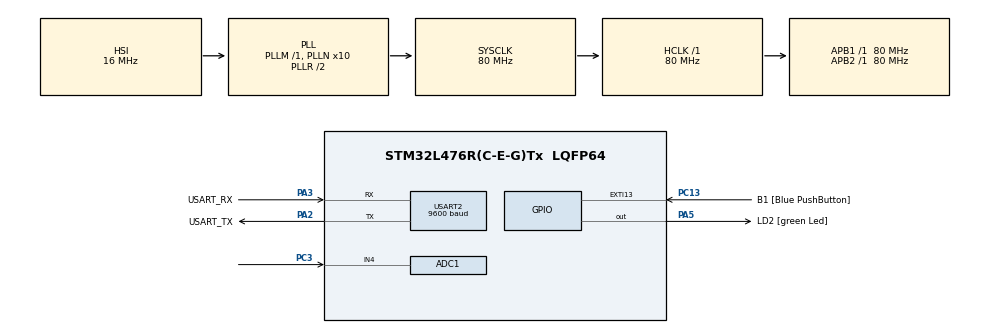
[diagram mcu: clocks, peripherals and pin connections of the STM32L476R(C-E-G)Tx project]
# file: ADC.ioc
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ADC1.Channel-2\#ChannelRegularConversion=ADC_CHANNEL_4
ADC1.ContinuousConvMode=ENABLE
ADC1.DMAContinuousRequests=ENABLE
ADC1.NbrOfConversionFlag=1
ADC1.OffsetNumber-2\#ChannelRegularConversion=ADC_OFFSET_NONE
ADC1.Rank-2\#ChannelRegularConversion=1
ADC1.Resolution=ADC_RESOLUTION_12B
ADC1.SamplingTime-2\#ChannelRegularConversion=ADC_SAMPLETIME_2CYCLES_5
ADC1.master=1
Dma.ADC1.0.Direction=DMA_PERIPH_TO_MEMORY
Dma.ADC1.0.Instance=DMA1_Channel1
Dma.ADC1.0.MemDataAlignment=DMA_MDATAALIGN_HALFWORD
Dma.ADC1.0.MemInc=DMA_MINC_ENABLE
Dma.ADC1.0.Mode=DMA_CIRCULAR
Dma.ADC1.0.PeriphDataAlignment=DMA_PDATAALIGN_HALFWORD
Dma.ADC1.0.PeriphInc=DMA_PINC_DISABLE
Dma.ADC1.0.Priority=DMA_PRIORITY_LOW
Dma.Request0=ADC1
Mcu.Family=STM32L4
Mcu.Name=STM32L476R(C-E-G)Tx
Mcu.Package=LQFP64
NVIC.DMA1_Channel1_IRQn=true\:0\:0\:false\:false\:true\:false\:true\:true
NVIC.PriorityGroup=NVIC_PRIORITYGROUP_4
PA13\ (JTMS-SWDIO).GPIO_Label=TMS
PA13\ (JTMS-SWDIO).Mode=Serial_Wire
PA13\ (JTMS-SWDIO).Signal=SYS_JTMS-SWDIO
PA14\ (JTCK-SWCLK).GPIO_Label=TCK
PA14\ (JTCK-SWCLK).Mode=Serial_Wire
PA14\ (JTCK-SWCLK).Signal=SYS_JTCK-SWCLK
PA2.GPIO_Label=USART_TX
PA2.GPIO_Mode=GPIO_MODE_AF_PP
PA2.GPIO_PuPd=GPIO_NOPULL
PA2.GPIO_Speed=GPIO_SPEED_FREQ_VERY_HIGH
PA2.Mode=Asynchronous
PA2.Signal=USART2_TX
PA3.GPIO_Label=USART_RX
PA3.GPIO_Mode=GPIO_MODE_AF_PP
PA3.GPIO_PuPd=GPIO_NOPULL
PA3.GPIO_Speed=GPIO_SPEED_FREQ_VERY_HIGH
PA3.Mode=Asynchronous
PA3.Signal=USART2_RX
PA5.GPIO_Label=LD2 [green Led]
PA5.GPIO_ModeDefaultOutputPP=GPIO_MODE_OUTPUT_PP
PA5.GPIO_PuPd=GPIO_NOPULL
PA5.GPIO_Speed=GPIO_SPEED_FREQ_LOW
PA5.Signal=GPIO_Output
PB3\ (JTDO-TRACESWO).GPIO_Label=SWO
PB3\ (JTDO-TRACESWO).Signal=SYS_JTDO-SWO
PC13.GPIO_Label=B1 [Blue PushButton]
PC13.GPIO_ModeDefaultEXTI=GPIO_MODE_IT_FALLING
PC13.GPIO_PuPd=GPIO_NOPULL
PC13.Signal=GPXTI13
PC14-OSC32_IN\ (PC14).Mode=LSE-External-Oscillator
PC14-OSC32_IN\ (PC14).Signal=RCC_OSC32_IN
PC15-OSC32_OUT\ (PC15).Mode=LSE-External-Oscillator
PC15-OSC32_OUT\ (PC15).Signal=RCC_OSC32_OUT
PC3.Signal=ADCx_IN4
PH0-OSC_IN\ (PH0).Signal=RCC_OSC_IN
PH1-OSC_OUT\ (PH1).Signal=RCC_OSC_OUT
ProjectManager.HeapSize=0x200
ProjectManager.StackSize=0x400
ProjectManager.TargetToolchain=STM32CubeIDE
RCC.ADCFreq_Value=64000000
RCC.AHBFreq_Value=80000000
RCC.APB1Freq_Value=80000000
RCC.APB1TimFreq_Value=80000000
RCC.APB2Freq_Value=80000000
RCC.APB2TimFreq_Value=80000000
RCC.CortexFreq_Value=80000000
RCC.HCLKFreq_Value=80000000
RCC.HSE_VALUE=8000000
RCC.HSI_VALUE=16000000
RCC.MSI_VALUE=4000000
RCC.PLLN=10
RCC.PLLSourceVirtual=RCC_PLLSOURCE_HSI
RCC.PREFETCH_ENABLE=1
RCC.SYSCLKFreq_VALUE=80000000
RCC.SYSCLKSource=RCC_SYSCLKSOURCE_PLLCLK
RCC.USBFreq_Value=64000000
RCC.VCOOutputFreq_Value=160000000
SH.ADCx_IN4.0=ADC1_IN4,IN4-Single-Ended
USART2.BaudRate=9600
USART2.VirtualMode-Asynchronous=VM_ASYNC
board=NUCLEO-L476RG

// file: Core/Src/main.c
/* USER CODE BEGIN Header */
/**
  ******************************************************************************
  * @file           : main.c
  * @brief          : Main program body
  ******************************************************************************
  * @attention
  *
  * <h2><center>&copy; Copyright (c) 2019 STMicroelectronics.
  * All rights reserved.</center></h2>
  *
  * This software component is licensed by ST under BSD 3-Clause license,
  * the "License"; You may not use this file except in compliance with the
  * License. You may obtain a copy of the License at:
  *                        opensource.org/licenses/BSD-3-Clause
  *
  ******************************************************************************
  */
/* USER CODE END Header */
#include "main.h"

/* USER CODE BEGIN Includes */
#include <string.h>
#include <stdio.h>
#include <FFT.h>
/* USER CODE END Includes */

/* USER CODE BEGIN PD */
#define ADC_BUF_LEN 4096
/* USER CODE END PD */

ADC_HandleTypeDef hadc1;
DMA_HandleTypeDef hdma_adc1;

UART_HandleTypeDef huart2;

/* USER CODE BEGIN PV */
uint16_t adc_buf[ADC_BUF_LEN];
char uart_buf[50];
int uart_buf_len;
float speed_ms;
float signal_level;
int flag = 0;
/* USER CODE END PV */

void SystemClock_Config(void);
static void MX_GPIO_Init(void);
static void MX_DMA_Init(void);
static void MX_USART2_UART_Init(void);
static void MX_ADC1_Init(void);

int main(void)
{
  /* USER CODE BEGIN 1 */

	struct ADC_param ADC_val={0};
	struct FFT_res FFT_val={0};

	ADC_val.bit=12;
	ADC_val.prescaler=64;
	ADC_val.sampling_time=47.5;
	ADC_val.speed=80000000;					//clock speed on .ioc file
	ADC_val.adc_buf_len=4096;				//buffer length
	uint32_t adc_buf[ADC_val.adc_buf_len];	//buffer array
	ADC_val.adc_buf=adc_buf;				//store the value of buffer array pointer
  /* USER CODE END 1 */

  /* MCU Configuration--------------------------------------------------------*/

  /* Reset of all peripherals, Initializes the Flash interface and the Systick. */
  HAL_Init();

  /* Configure the system clock */
  SystemClock_Config();

  /* Initialize all configured peripherals */
  MX_GPIO_Init();
  MX_DMA_Init();
  MX_USART2_UART_Init();
  MX_ADC1_Init();
  /* USER CODE BEGIN 2 */
  HAL_ADC_Start_DMA(&hadc1, (uint32_t*)adc_buf, ADC_BUF_LEN);
  /* USER CODE END 2 */

  /* Infinite loop */
  /* USER CODE BEGIN WHILE */
  while (1)
  {
	  if (flag == 1){

		  start_FFT(&flag, &ADC_val, &FFT_val);
		  uart_buf_len = sprintf(uart_buf, "Frequency: %lf\r\n", FFT_val.fdominant);
		  HAL_UART_Transmit(&huart2, (unsigned char *) uart_buf, uart_buf_len, 100);
		  HAL_Delay(500);
	  }
	  // HAL_ADC_Start_DMA(&hadc1, (uint32_t*)adc_buf, ADC_BUF_LEN);
  }
    /* USER CODE END WHILE */

}

void SystemClock_Config(void)
{
  RCC_OscInitTypeDef RCC_OscInitStruct = {0};
  RCC_ClkInitTypeDef RCC_ClkInitStruct = {0};

  /** Configure the main internal regulator output voltage
  */
  if (HAL_PWREx_ControlVoltageScaling(PWR_REGULATOR_VOLTAGE_SCALE1) != HAL_OK)
  {
    Error_Handler();
  }

  /** Initializes the RCC Oscillators according to the specified parameters
  * in the RCC_OscInitTypeDef structure.
  */
  RCC_OscInitStruct.OscillatorType = RCC_OSCILLATORTYPE_HSI;
  RCC_OscInitStruct.HSIState = RCC_HSI_ON;
  RCC_OscInitStruct.HSICalibrationValue = RCC_HSICALIBRATION_DEFAULT;
  RCC_OscInitStruct.PLL.PLLState = RCC_PLL_ON;
  RCC_OscInitStruct.PLL.PLLSource = RCC_PLLSOURCE_HSI;
  RCC_OscInitStruct.PLL.PLLM = 1;
  RCC_OscInitStruct.PLL.PLLN = 10;
  RCC_OscInitStruct.PLL.PLLP = RCC_PLLP_DIV7;
  RCC_OscInitStruct.PLL.PLLQ = RCC_PLLQ_DIV2;
  RCC_OscInitStruct.PLL.PLLR = RCC_PLLR_DIV2;
  if (HAL_RCC_OscConfig(&RCC_OscInitStruct) != HAL_OK)
  {
    Error_Handler();
  }

  /** Initializes the CPU, AHB and APB buses clocks
  */
  RCC_ClkInitStruct.ClockType = RCC_CLOCKTYPE_HCLK|RCC_CLOCKTYPE_SYSCLK
                              |RCC_CLOCKTYPE_PCLK1|RCC_CLOCKTYPE_PCLK2;
  RCC_ClkInitStruct.SYSCLKSource = RCC_SYSCLKSOURCE_PLLCLK;
  RCC_ClkInitStruct.AHBCLKDivider = RCC_SYSCLK_DIV1;
  RCC_ClkInitStruct.APB1CLKDivider = RCC_HCLK_DIV1;
  RCC_ClkInitStruct.APB2CLKDivider = RCC_HCLK_DIV1;

  if (HAL_RCC_ClockConfig(&RCC_ClkInitStruct, FLASH_LATENCY_4) != HAL_OK)
  {
    Error_Handler();
  }
}

static void MX_ADC1_Init(void)
{

  ADC_MultiModeTypeDef multimode = {0};
  ADC_ChannelConfTypeDef sConfig = {0};

  /** Common config
  */
  hadc1.Instance = ADC1;
  hadc1.Init.ClockPrescaler = ADC_CLOCK_ASYNC_DIV1;
  hadc1.Init.Resolution = ADC_RESOLUTION_12B;
  hadc1.Init.DataAlign = ADC_DATAALIGN_RIGHT;
  hadc1.Init.ScanConvMode = ADC_SCAN_DISABLE;
  hadc1.Init.EOCSelection = ADC_EOC_SINGLE_CONV;
  hadc1.Init.LowPowerAutoWait = DISABLE;
  hadc1.Init.ContinuousConvMode = ENABLE;
  hadc1.Init.NbrOfConversion = 1;
  hadc1.Init.DiscontinuousConvMode = DISABLE;
  hadc1.Init.ExternalTrigConv = ADC_SOFTWARE_START;
  hadc1.Init.ExternalTrigConvEdge = ADC_EXTERNALTRIGCONVEDGE_NONE;
  hadc1.Init.DMAContinuousRequests = ENABLE;
  hadc1.Init.Overrun = ADC_OVR_DATA_PRESERVED;
  hadc1.Init.OversamplingMode = DISABLE;
  if (HAL_ADC_Init(&hadc1) != HAL_OK)
  {
    Error_Handler();
  }

  /** Configure the ADC multi-mode
  */
  multimode.Mode = ADC_MODE_INDEPENDENT;
  if (HAL_ADCEx_MultiModeConfigChannel(&hadc1, &multimode) != HAL_OK)
  {
    Error_Handler();
  }

  /** Configure Regular Channel
  */
  sConfig.Channel = ADC_CHANNEL_4;
  sConfig.Rank = ADC_REGULAR_RANK_1;
  sConfig.SamplingTime = ADC_SAMPLETIME_2CYCLES_5;
  sConfig.SingleDiff = ADC_SINGLE_ENDED;
  sConfig.OffsetNumber = ADC_OFFSET_NONE;
  sConfig.Offset = 0;
  if (HAL_ADC_ConfigChannel(&hadc1, &sConfig) != HAL_OK)
  {
    Error_Handler();
  }

}

static void MX_USART2_UART_Init(void)
{

  huart2.Instance = USART2;
  huart2.Init.BaudRate = 9600;
  huart2.Init.WordLength = UART_WORDLENGTH_8B;
  huart2.Init.StopBits = UART_STOPBITS_1;
  huart2.Init.Parity = UART_PARITY_NONE;
  huart2.Init.Mode = UART_MODE_TX_RX;
  huart2.Init.HwFlowCtl = UART_HWCONTROL_NONE;
  huart2.Init.OverSampling = UART_OVERSAMPLING_16;
  huart2.Init.OneBitSampling = UART_ONE_BIT_SAMPLE_DISABLE;
  huart2.AdvancedInit.AdvFeatureInit = UART_ADVFEATURE_NO_INIT;
  if (HAL_UART_Init(&huart2) != HAL_OK)
  {
    Error_Handler();
  }

}

static void MX_DMA_Init(void)
{

  /* DMA controller clock enable */
  __HAL_RCC_DMA1_CLK_ENABLE();

  /* DMA interrupt init */
  /* DMA1_Channel1_IRQn interrupt configuration */
  HAL_NVIC_SetPriority(DMA1_Channel1_IRQn, 0, 0);
  HAL_NVIC_EnableIRQ(DMA1_Channel1_IRQn);

}

static void MX_GPIO_Init(void)
{
  GPIO_InitTypeDef GPIO_InitStruct = {0};

  /* GPIO Ports Clock Enable */
  __HAL_RCC_GPIOC_CLK_ENABLE();
  __HAL_RCC_GPIOH_CLK_ENABLE();
  __HAL_RCC_GPIOA_CLK_ENABLE();
  __HAL_RCC_GPIOB_CLK_ENABLE();

  /*Configure GPIO pin Output Level */
  HAL_GPIO_WritePin(LD2_GPIO_Port, LD2_Pin, GPIO_PIN_RESET);

  /*Configure GPIO pin : B1_Pin */
  GPIO_InitStruct.Pin = B1_Pin;
  GPIO_InitStruct.Mode = GPIO_MODE_IT_FALLING;
  GPIO_InitStruct.Pull = GPIO_NOPULL;
  HAL_GPIO_Init(B1_GPIO_Port, &GPIO_InitStruct);

  /*Configure GPIO pin : LD2_Pin */
  GPIO_InitStruct.Pin = LD2_Pin;
  GPIO_InitStruct.Mode = GPIO_MODE_OUTPUT_PP;
  GPIO_InitStruct.Pull = GPIO_NOPULL;
  GPIO_InitStruct.Speed = GPIO_SPEED_FREQ_LOW;
  HAL_GPIO_Init(LD2_GPIO_Port, &GPIO_InitStruct);

}

/* USER CODE BEGIN 4 */

// Called when first half of buffer is filled
void HAL_ADC_ConvHalfCpltCallback(ADC_HandleTypeDef* hadc) {
  HAL_GPIO_WritePin(LD2_GPIO_Port, LD2_Pin, GPIO_PIN_SET);
}

// Called when buffer is completely filled
void HAL_ADC_ConvCpltCallback(ADC_HandleTypeDef* hadc) {
  HAL_GPIO_WritePin(LD2_GPIO_Port, LD2_Pin, GPIO_PIN_RESET);
  flag = 1;
}

/* USER CODE END 4 */

void Error_Handler(void)
{
  __disable_irq();
  while (1)
  {
  }
}
